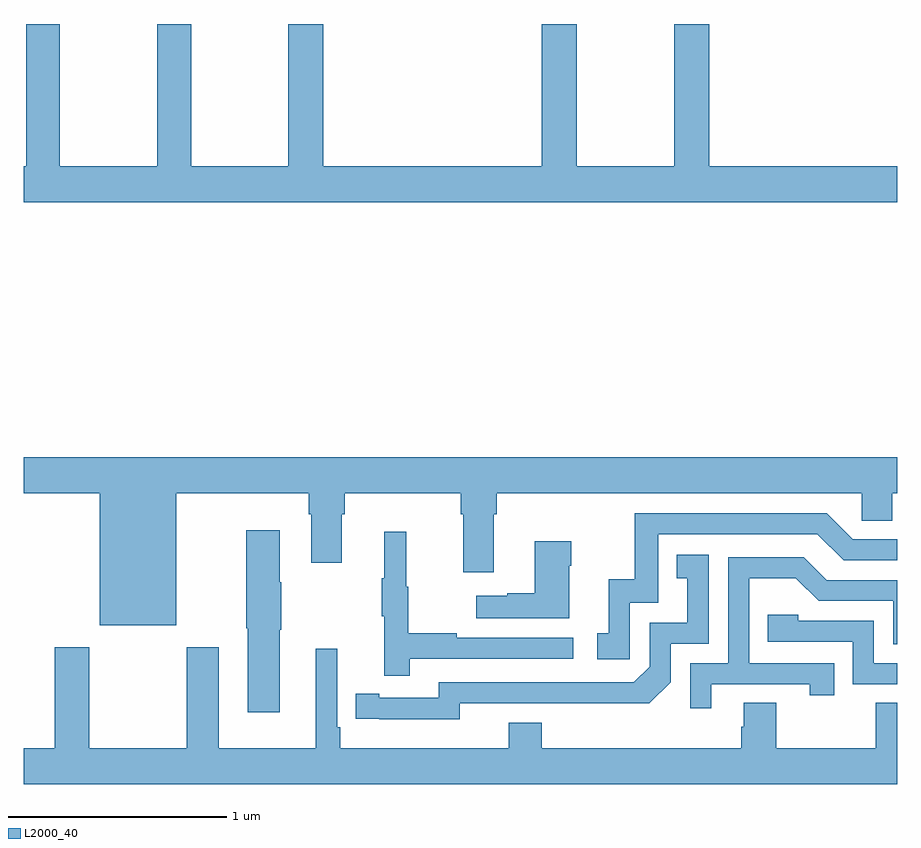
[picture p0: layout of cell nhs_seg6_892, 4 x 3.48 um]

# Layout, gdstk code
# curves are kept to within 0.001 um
import gdstk
lib = gdstk.Library(unit=1e-6, precision=1e-09)
def P(c, l, *ps):  # polygons
    for p in ps: c.add(gdstk.Polygon(p, *l))
L2000_40 = (2000, 40)

nhs_seg6_892 = lib.new_cell('nhs_seg6_892')
P(nhs_seg6_892, L2000_40, [(171,932.848),(170.138,932.848),(170.138,933.5),(169.978,933.5),(169.978,932.848),(169.533,932.848),(169.533,933.5),(169.373,933.5),(169.373,932.848),(168.371,932.848),(168.371,933.5),(168.211,933.5),(168.211,932.848),(167.766,932.848),(167.766,933.5),(167.611,933.5),(167.611,932.848),(167.166,932.848),(167.166,933.5),(167.011,933.5),(167.011,932.848),(167,932.848),(167,932.684),(171,932.684)],
  [(167.698,931.352),(168.305,931.352),(168.305,931.256),(168.317,931.256),(168.317,931.032),(168.457,931.032),(168.457,931.256),(168.47,931.256),(168.47,931.352),(169.001,931.352),(169.001,931.256),(169.013,931.256),(169.013,930.99),(169.153,930.99),(169.153,931.256),(169.166,931.256),(169.166,931.352),(170.838,931.352),(170.838,931.225),(170.977,931.225),(170.977,931.352),(171,931.352),(171,931.516),(167,931.516),(167,931.352),(167.348,931.352),(167.348,930.746),(167.698,930.746)],
  [(169.776,930.849),(169.905,930.849),(169.905,931.164),(170.634,931.164),(170.754,931.044),(171,931.044),(171,931.14),(170.796,931.14),(170.676,931.26),(169.797,931.26),(169.797,930.958),(169.679,930.958),(169.679,930.711),(169.626,930.711),(169.626,930.591),(169.776,930.591)],
  [(168.172,930.727),(168.18,930.727),(168.18,930.944),(168.172,930.944),(168.172,931.183),(168.019,931.183),(168.019,930.733),(168.026,930.733),(168.026,930.348),(168.172,930.348)],
  [(168.767,930.594),(169.516,930.594),(169.516,930.69),(168.983,930.69),(168.983,930.71),(168.76,930.71),(168.76,930.924),(168.752,930.924),(168.752,931.174),(168.65,931.174),(168.65,930.961),(168.639,930.961),(168.639,930.787),(168.65,930.787),(168.65,930.516),(168.767,930.516)],
  [(169.498,931.019),(169.506,931.019),(169.506,931.132),(169.34,931.132),(169.34,930.893),(169.214,930.893),(169.214,930.883),(169.071,930.883),(169.071,930.779),(169.498,930.779)],
  [(168.996,930.39),(169.864,930.389),(169.962,930.486),(169.962,930.663),(170.136,930.663),(170.136,931.069),(169.99,931.069),(169.99,930.963),(170.039,930.963),(170.039,930.759),(169.866,930.759),(169.866,930.558),(169.794,930.486),(168.9,930.486),(168.9,930.414),(168.628,930.414),(168.628,930.434),(168.52,930.434),(168.52,930.318),(168.996,930.317)],
  [(170.149,930.477),(170.6,930.477),(170.6,930.426),(170.711,930.426),(170.711,930.573),(170.322,930.573),(170.322,930.962),(170.536,930.962),(170.64,930.858),(170.982,930.858),(170.982,930.66),(171,930.66),(171,930.954),(170.677,930.954),(170.572,931.059),(170.226,931.059),(170.226,930.573),(170.052,930.573),(170.052,930.366),(170.149,930.366)],
  [(171,930.573),(170.892,930.573),(170.892,930.768),(170.547,930.768),(170.547,930.795),(170.407,930.795),(170.407,930.672),(170.796,930.672),(170.796,930.477),(171,930.477)],
  [(171,930.392),(170.902,930.392),(170.902,930.184),(170.445,930.184),(170.445,930.392),(170.297,930.392),(170.297,930.282),(170.285,930.282),(170.285,930.184),(169.373,930.184),(169.373,930.301),(169.22,930.301),(169.22,930.184),(168.449,930.184),(168.449,930.28),(168.435,930.28),(168.435,930.64),(168.338,930.64),(168.338,930.184),(167.893,930.184),(167.893,930.646),(167.746,930.646),(167.746,930.184),(167.301,930.184),(167.301,930.646),(167.141,930.646),(167.141,930.184),(167,930.184),(167,930.02),(171,930.02)])

lib.write_gds('nhs_seg6_892.gds')
